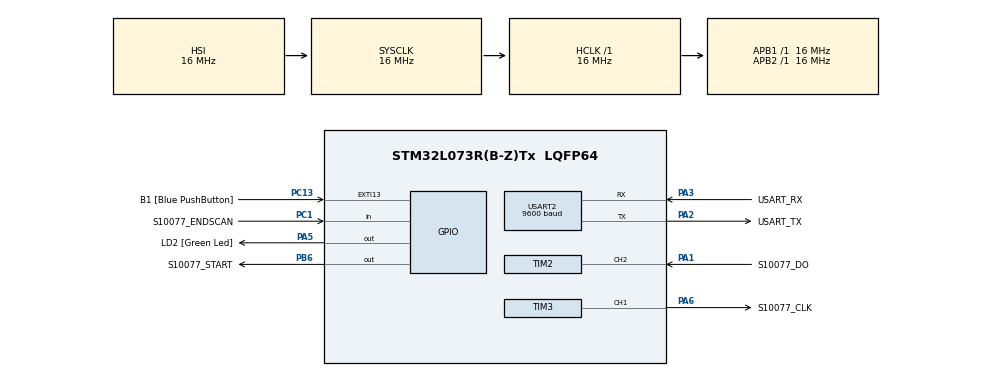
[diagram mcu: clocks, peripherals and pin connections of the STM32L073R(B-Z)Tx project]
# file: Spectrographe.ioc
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Dma.Request0=TIM2_CH2
Dma.TIM2_CH2.0.Direction=DMA_PERIPH_TO_MEMORY
Dma.TIM2_CH2.0.Instance=DMA1_Channel3
Dma.TIM2_CH2.0.MemDataAlignment=DMA_MDATAALIGN_HALFWORD
Dma.TIM2_CH2.0.MemInc=DMA_MINC_ENABLE
Dma.TIM2_CH2.0.Mode=DMA_CIRCULAR
Dma.TIM2_CH2.0.PeriphDataAlignment=DMA_PDATAALIGN_HALFWORD
Dma.TIM2_CH2.0.PeriphInc=DMA_PINC_DISABLE
Dma.TIM2_CH2.0.Priority=DMA_PRIORITY_LOW
Mcu.Family=STM32L0
Mcu.Name=STM32L073R(B-Z)Tx
Mcu.Package=LQFP64
NVIC.DMA1_Channel2_3_IRQn=true\:0\:0\:false\:false\:true\:false\:true\:true
NVIC.TIM21_IRQn=true\:0\:0\:false\:false\:true\:true\:true\:true
PA1.GPIO_Label=S10077_DO
PA1.Signal=S_TIM2_CH2
PA13.GPIO_Label=TMS
PA13.Mode=Serial_Wire
PA13.Signal=SYS_SWDIO
PA14.GPIO_Label=TCK
PA14.Mode=Serial_Wire
PA14.Signal=SYS_SWCLK
PA2.GPIO_Label=USART_TX
PA2.Mode=Asynchronous
PA2.Signal=USART2_TX
PA3.GPIO_Label=USART_RX
PA3.Mode=Asynchronous
PA3.Signal=USART2_RX
PA5.GPIO_Label=LD2 [Green Led]
PA5.Signal=GPIO_Output
PA6.GPIO_Label=S10077_CLK
PA6.Signal=S_TIM3_CH1
PB6.GPIO_Label=S10077_START
PB6.GPIO_PuPd=GPIO_PULLUP
PB6.Signal=GPIO_Output
PC1.GPIO_Label=S10077_ENDSCAN
PC1.Signal=GPIO_Input
PC13.GPIO_Label=B1 [Blue PushButton]
PC13.GPIO_ModeDefaultEXTI=GPIO_MODE_IT_FALLING
PC13.Signal=GPXTI13
PC14-OSC32_IN.Mode=LSE-External-Oscillator
PC14-OSC32_IN.Signal=RCC_OSC32_IN
PC15-OSC32_OUT.Mode=LSE-External-Oscillator
PC15-OSC32_OUT.Signal=RCC_OSC32_OUT
PH0-OSC_IN.GPIO_Label=MCO
PH0-OSC_IN.Mode=HSE-External-Clock-Source
PH0-OSC_IN.Signal=RCC_OSC_IN
ProjectManager.HeapSize=0x200
ProjectManager.StackSize=0x400
ProjectManager.TargetToolchain=STM32CubeIDE
RCC.AHBFreq_Value=16000000
RCC.APB1Freq_Value=16000000
RCC.APB1TimFreq_Value=16000000
RCC.APB2Freq_Value=16000000
RCC.APB2TimFreq_Value=16000000
RCC.HCLKFreq_Value=16000000
RCC.HSE_VALUE=8000000
RCC.HSI16_VALUE=16000000
RCC.HSI48_VALUE=48000000
RCC.HSI_VALUE=16000000
RCC.MSI_VALUE=2097000
RCC.SYSCLKFreq_VALUE=16000000
RCC.SYSCLKSource=RCC_SYSCLKSOURCE_HSI
RCC.VCOOutputFreq_Value=48000000
SH.S_TIM2_CH2.0=TIM2_CH2,Input_Capture2_from_TI2
SH.S_TIM3_CH1.0=TIM3_CH1,Forced Output1 CH1
TIM2.AutoReloadPreload=TIM_AUTORELOAD_PRELOAD_DISABLE
TIM2.Channel-Input_Capture2_from_TI2=TIM_CHANNEL_2
TIM2.ICPolarity_CH2=TIM_INPUTCHANNELPOLARITY_BOTHEDGE
TIM2.Period=0
TIM2.Prescaler=0
TIM21.Period=39
TIM21.Prescaler=19
TIM3.Channel-Forced\ Output1\ CH1=TIM_CHANNEL_1
TIM3.Channel-Input_Capture2_from_TI2=TIM_CHANNEL_2
TIM3.Period=3
TIM3.Prescaler=3
USART2.BaudRate=9600
USART2.VirtualMode-Asynchronous=VM_ASYNC
VP_TIM21_VS_ClockSourceINT.Mode=Internal
VP_TIM2_VS_ClockSourceINT.Mode=Internal
VP_TIM3_VS_ClockSourceINT.Mode=Internal
board=NUCLEO-L073RZ

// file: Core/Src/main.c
/* USER CODE BEGIN Header */
/**
  ******************************************************************************
  * @file           : main.c
  * @brief          : Main program body
  ******************************************************************************
  * @attention
  *
  * Copyright (c) 2024 STMicroelectronics.
  * All rights reserved.
  *
  * This software is licensed under terms that can be found in the LICENSE file
  * in the root directory of this software component.
  * If no LICENSE file comes with this software, it is provided AS-IS.
  *
  ******************************************************************************
  */

/* USER CODE END Header */
#include "main.h"

/* USER CODE BEGIN Includes */
#include <stdio.h>
#include <stm32l0xx_it.h>
#include <stdbool.h>
/* USER CODE END Includes */

TIM_HandleTypeDef htim2;
TIM_HandleTypeDef htim3;
TIM_HandleTypeDef htim21;
DMA_HandleTypeDef hdma_tim2_ch2;

UART_HandleTypeDef huart2;

/* USER CODE BEGIN PV */
extern uint32_t l_CycleCount ;
/* USER CODE END PV */

void SystemClock_Config(void);
static void MX_GPIO_Init(void);
static void MX_DMA_Init(void);
static void MX_USART2_UART_Init(void);
static void MX_TIM2_Init(void);
static void MX_TIM3_Init(void);
static void MX_TIM21_Init(void);

int main(void)
{

  /* MCU Configuration--------------------------------------------------------*/

  /* Reset of all peripherals, Initializes the Flash interface and the Systick. */
  HAL_Init();

  /* Configure the system clock */
  SystemClock_Config();

  /* Initialize all configured peripherals */
  MX_GPIO_Init();
  MX_DMA_Init();
  MX_USART2_UART_Init();
  MX_TIM2_Init();
  MX_TIM3_Init();
  MX_TIM21_Init();
  /* USER CODE BEGIN 2 */
  HAL_TIM_Base_Start_IT(&htim2);
  	HAL_TIM_Base_Start_IT(&htim3);
  	 HAL_TIM_Base_Start_IT(&htim21);

  /* USER CODE END 2 */

  /* Infinite loop */
  while (1)
  {

    /* USER CODE BEGIN 3 */
		//f(!HAL_GPIO_ReadPin(S10077_ENDSCAN_GPIO_Port, S10077_ENDSCAN_Pin)){
		//	printf("nadddd \r\n");
		//}

 TEMOINLED(3000);
 S10077_StartConversion(14000);

  }
  /* USER CODE END 3 */
}

void SystemClock_Config(void)
{
  RCC_OscInitTypeDef RCC_OscInitStruct = {0};
  RCC_ClkInitTypeDef RCC_ClkInitStruct = {0};
  RCC_PeriphCLKInitTypeDef PeriphClkInit = {0};

  /** Configure the main internal regulator output voltage
  */
  __HAL_PWR_VOLTAGESCALING_CONFIG(PWR_REGULATOR_VOLTAGE_SCALE1);

  /** Initializes the RCC Oscillators according to the specified parameters
  * in the RCC_OscInitTypeDef structure.
  */
  RCC_OscInitStruct.OscillatorType = RCC_OSCILLATORTYPE_HSI;
  RCC_OscInitStruct.HSIState = RCC_HSI_ON;
  RCC_OscInitStruct.HSICalibrationValue = RCC_HSICALIBRATION_DEFAULT;
  RCC_OscInitStruct.PLL.PLLState = RCC_PLL_NONE;
  if (HAL_RCC_OscConfig(&RCC_OscInitStruct) != HAL_OK)
  {
    Error_Handler();
  }

  /** Initializes the CPU, AHB and APB buses clocks
  */
  RCC_ClkInitStruct.ClockType = RCC_CLOCKTYPE_HCLK|RCC_CLOCKTYPE_SYSCLK
                              |RCC_CLOCKTYPE_PCLK1|RCC_CLOCKTYPE_PCLK2;
  RCC_ClkInitStruct.SYSCLKSource = RCC_SYSCLKSOURCE_HSI;
  RCC_ClkInitStruct.AHBCLKDivider = RCC_SYSCLK_DIV1;
  RCC_ClkInitStruct.APB1CLKDivider = RCC_HCLK_DIV1;
  RCC_ClkInitStruct.APB2CLKDivider = RCC_HCLK_DIV1;

  if (HAL_RCC_ClockConfig(&RCC_ClkInitStruct, FLASH_LATENCY_0) != HAL_OK)
  {
    Error_Handler();
  }
  PeriphClkInit.PeriphClockSelection = RCC_PERIPHCLK_USART2;
  PeriphClkInit.Usart2ClockSelection = RCC_USART2CLKSOURCE_PCLK1;
  if (HAL_RCCEx_PeriphCLKConfig(&PeriphClkInit) != HAL_OK)
  {
    Error_Handler();
  }
}

static void MX_TIM2_Init(void)
{

  TIM_ClockConfigTypeDef sClockSourceConfig = {0};
  TIM_MasterConfigTypeDef sMasterConfig = {0};
  TIM_IC_InitTypeDef sConfigIC = {0};

  htim2.Instance = TIM2;
  htim2.Init.Prescaler = 0;
  htim2.Init.CounterMode = TIM_COUNTERMODE_UP;
  htim2.Init.Period = 0;
  htim2.Init.ClockDivision = TIM_CLOCKDIVISION_DIV1;
  htim2.Init.AutoReloadPreload = TIM_AUTORELOAD_PRELOAD_DISABLE;
  if (HAL_TIM_Base_Init(&htim2) != HAL_OK)
  {
    Error_Handler();
  }
  sClockSourceConfig.ClockSource = TIM_CLOCKSOURCE_INTERNAL;
  if (HAL_TIM_ConfigClockSource(&htim2, &sClockSourceConfig) != HAL_OK)
  {
    Error_Handler();
  }
  if (HAL_TIM_IC_Init(&htim2) != HAL_OK)
  {
    Error_Handler();
  }
  sMasterConfig.MasterOutputTrigger = TIM_TRGO_RESET;
  sMasterConfig.MasterSlaveMode = TIM_MASTERSLAVEMODE_DISABLE;
  if (HAL_TIMEx_MasterConfigSynchronization(&htim2, &sMasterConfig) != HAL_OK)
  {
    Error_Handler();
  }
  sConfigIC.ICPolarity = TIM_INPUTCHANNELPOLARITY_BOTHEDGE;
  sConfigIC.ICSelection = TIM_ICSELECTION_DIRECTTI;
  sConfigIC.ICPrescaler = TIM_ICPSC_DIV1;
  sConfigIC.ICFilter = 0;
  if (HAL_TIM_IC_ConfigChannel(&htim2, &sConfigIC, TIM_CHANNEL_2) != HAL_OK)
  {
    Error_Handler();
  }

}

static void MX_TIM3_Init(void)
{

  TIM_ClockConfigTypeDef sClockSourceConfig = {0};
  TIM_MasterConfigTypeDef sMasterConfig = {0};
  TIM_OC_InitTypeDef sConfigOC = {0};

  htim3.Instance = TIM3;
  htim3.Init.Prescaler = 3;
  htim3.Init.CounterMode = TIM_COUNTERMODE_UP;
  htim3.Init.Period = 3;
  htim3.Init.ClockDivision = TIM_CLOCKDIVISION_DIV1;
  htim3.Init.AutoReloadPreload = TIM_AUTORELOAD_PRELOAD_DISABLE;
  if (HAL_TIM_Base_Init(&htim3) != HAL_OK)
  {
    Error_Handler();
  }
  sClockSourceConfig.ClockSource = TIM_CLOCKSOURCE_INTERNAL;
  if (HAL_TIM_ConfigClockSource(&htim3, &sClockSourceConfig) != HAL_OK)
  {
    Error_Handler();
  }
  if (HAL_TIM_OC_Init(&htim3) != HAL_OK)
  {
    Error_Handler();
  }
  sMasterConfig.MasterOutputTrigger = TIM_TRGO_RESET;
  sMasterConfig.MasterSlaveMode = TIM_MASTERSLAVEMODE_DISABLE;
  if (HAL_TIMEx_MasterConfigSynchronization(&htim3, &sMasterConfig) != HAL_OK)
  {
    Error_Handler();
  }
  sConfigOC.OCMode = TIM_OCMODE_FORCED_ACTIVE;
  sConfigOC.Pulse = 0;
  sConfigOC.OCPolarity = TIM_OCPOLARITY_HIGH;
  sConfigOC.OCFastMode = TIM_OCFAST_DISABLE;
  if (HAL_TIM_OC_ConfigChannel(&htim3, &sConfigOC, TIM_CHANNEL_1) != HAL_OK)
  {
    Error_Handler();
  }
  if (HAL_TIMEx_RemapConfig(&htim3, TIM3_TI1_GPIO) != HAL_OK)
  {
    Error_Handler();
  }
  HAL_TIM_MspPostInit(&htim3);

}

static void MX_TIM21_Init(void)
{

  TIM_ClockConfigTypeDef sClockSourceConfig = {0};
  TIM_MasterConfigTypeDef sMasterConfig = {0};

  htim21.Instance = TIM21;
  htim21.Init.Prescaler = 19;
  htim21.Init.CounterMode = TIM_COUNTERMODE_UP;
  htim21.Init.Period = 39;
  htim21.Init.ClockDivision = TIM_CLOCKDIVISION_DIV1;
  htim21.Init.AutoReloadPreload = TIM_AUTORELOAD_PRELOAD_DISABLE;
  if (HAL_TIM_Base_Init(&htim21) != HAL_OK)
  {
    Error_Handler();
  }
  sClockSourceConfig.ClockSource = TIM_CLOCKSOURCE_INTERNAL;
  if (HAL_TIM_ConfigClockSource(&htim21, &sClockSourceConfig) != HAL_OK)
  {
    Error_Handler();
  }
  sMasterConfig.MasterOutputTrigger = TIM_TRGO_RESET;
  sMasterConfig.MasterSlaveMode = TIM_MASTERSLAVEMODE_DISABLE;
  if (HAL_TIMEx_MasterConfigSynchronization(&htim21, &sMasterConfig) != HAL_OK)
  {
    Error_Handler();
  }

}

static void MX_USART2_UART_Init(void)
{

  huart2.Instance = USART2;
  huart2.Init.BaudRate = 9600;
  huart2.Init.WordLength = UART_WORDLENGTH_8B;
  huart2.Init.StopBits = UART_STOPBITS_1;
  huart2.Init.Parity = UART_PARITY_NONE;
  huart2.Init.Mode = UART_MODE_TX_RX;
  huart2.Init.HwFlowCtl = UART_HWCONTROL_NONE;
  huart2.Init.OverSampling = UART_OVERSAMPLING_16;
  huart2.Init.OneBitSampling = UART_ONE_BIT_SAMPLE_DISABLE;
  huart2.AdvancedInit.AdvFeatureInit = UART_ADVFEATURE_NO_INIT;
  if (HAL_UART_Init(&huart2) != HAL_OK)
  {
    Error_Handler();
  }

}

static void MX_DMA_Init(void)
{

  /* DMA controller clock enable */
  __HAL_RCC_DMA1_CLK_ENABLE();

  /* DMA interrupt init */
  /* DMA1_Channel2_3_IRQn interrupt configuration */
  HAL_NVIC_SetPriority(DMA1_Channel2_3_IRQn, 0, 0);
  HAL_NVIC_EnableIRQ(DMA1_Channel2_3_IRQn);

}

static void MX_GPIO_Init(void)
{
  GPIO_InitTypeDef GPIO_InitStruct = {0};

  /* GPIO Ports Clock Enable */
  __HAL_RCC_GPIOC_CLK_ENABLE();
  __HAL_RCC_GPIOH_CLK_ENABLE();
  __HAL_RCC_GPIOA_CLK_ENABLE();
  __HAL_RCC_GPIOB_CLK_ENABLE();

  /*Configure GPIO pin Output Level */
  HAL_GPIO_WritePin(LD2_GPIO_Port, LD2_Pin, GPIO_PIN_RESET);

  /*Configure GPIO pin Output Level */
  HAL_GPIO_WritePin(S10077_START_GPIO_Port, S10077_START_Pin, GPIO_PIN_RESET);

  /*Configure GPIO pin : B1_Pin */
  GPIO_InitStruct.Pin = B1_Pin;
  GPIO_InitStruct.Mode = GPIO_MODE_IT_FALLING;
  GPIO_InitStruct.Pull = GPIO_NOPULL;
  HAL_GPIO_Init(B1_GPIO_Port, &GPIO_InitStruct);

  /*Configure GPIO pin : S10077_ENDSCAN_Pin */
  GPIO_InitStruct.Pin = S10077_ENDSCAN_Pin;
  GPIO_InitStruct.Mode = GPIO_MODE_INPUT;
  GPIO_InitStruct.Pull = GPIO_NOPULL;
  HAL_GPIO_Init(S10077_ENDSCAN_GPIO_Port, &GPIO_InitStruct);

  /*Configure GPIO pin : LD2_Pin */
  GPIO_InitStruct.Pin = LD2_Pin;
  GPIO_InitStruct.Mode = GPIO_MODE_OUTPUT_PP;
  GPIO_InitStruct.Pull = GPIO_NOPULL;
  GPIO_InitStruct.Speed = GPIO_SPEED_FREQ_LOW;
  HAL_GPIO_Init(LD2_GPIO_Port, &GPIO_InitStruct);

  /*Configure GPIO pin : S10077_START_Pin */
  GPIO_InitStruct.Pin = S10077_START_Pin;
  GPIO_InitStruct.Mode = GPIO_MODE_OUTPUT_PP;
  GPIO_InitStruct.Pull = GPIO_PULLUP;
  GPIO_InitStruct.Speed = GPIO_SPEED_FREQ_LOW;
  HAL_GPIO_Init(S10077_START_GPIO_Port, &GPIO_InitStruct);

}

/* USER CODE BEGIN 4 */

int __io_putchar(int ch)
{
/* Custom implementation of fputc here */
HAL_UART_Transmit(&huart2, (uint8_t *)&ch, 1, 0xFFFF);
return ch;
}

void TEMOINLED(int x_blinktime){
	HAL_GPIO_TogglePin(LD2_GPIO_Port, LD2_Pin);
	HAL_Delay(x_blinktime);

}

/* USER CODE END 4 */

void Error_Handler(void)
{
  __disable_irq();
  while (1)
  {
  }
}
